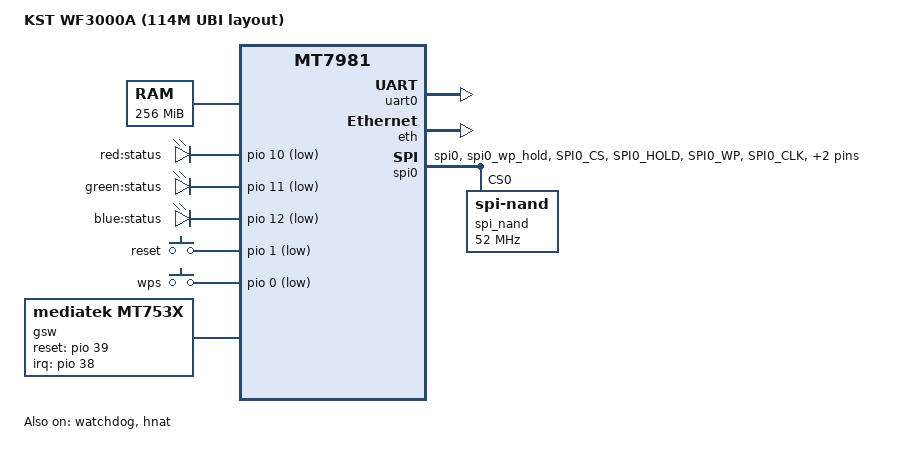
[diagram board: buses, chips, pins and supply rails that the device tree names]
// SPDX-License-Identifier: GPL-2.0-or-later OR MIT
/*
 * KST WF3000A —— hanwckf / ImmortalWrt 21.02 / Linux 5.4 板级描述
 *
 * 【硬件事实来源】wangwang623/immortalwrt-mt798x-6.6 的
 *   target/linux/mediatek/dts/mt7981b-kst-wf3000a.dts（实机验证有线/无线可用）
 * 【语法格式来源】本分支 5.4 的 mt7981-newland-nl-wr8103.dts
 *   （chosen/leds/gpio-keys/gsw/nmbm/spi0/pio 的写法）
 * 【网口模式来源】本分支 5.4 的 mt7981-cetron-ct3003.dts + 02_network
 *   （单 GMAC + VLAN：0/1/2=lan、3=wan、6t@eth0，与 6.6 DTS 端口角色逐项一致）
 * 【物理口顺序】机身从左到右 LAN1 LAN2 LAN3 WAN = port0 port1 port2 port3
 *
 * ★ 物理端口（实机确认）：1WAN + 3LAN 共 4 个 RJ45，机身从左到右依次
 *   LAN1、LAN2、LAN3、WAN。与 6.6 已验证 DTS 的 label 逐口对应：
 *     port@0 = lan1 (最左)   port@1 = lan2
 *     port@2 = lan3          port@3 = wan (最右)
 *     port@6 = CPU port，ethernet = <&gmac0>
 *   port 编号与丝印顺序一一对应，不反序；02_network 的
 *   "0:lan 1:lan 2:lan 3:wan" 就是按这个顺序写的，不要对调。
 *
 * ★ 为什么必须这样写（2026-11 实机教训）★
 * 1) NL-WR8103 是 1WAN+1LAN 便携路由，gmac1 = "gmii" + phy-handle=<&phy0>
 *    （外接 RTL8221B PHY），WAN 走 eth1。WF3000A 是 1WAN+3LAN、板上没有
 *    这颗 PHY，直接刷 8103 固件 → WAN/LAN 全不通。所以本文件【不照抄
 *    8103 的 eth/mdio 段】，只借它的骨架格式（gsw/nmbm/分区/LED/按键）。
 * 2) 6.6 已验证 DTS 其实是【双 GMAC】：gmac0 / gmac1 均为 2500base-x
 *    fixed-link（无 phy-handle），&hnat 写 mtketh-wan="eth1"、
 *    mtketh-max-gmac=<2>。硬件上第二条 GMAC 通道是存在的，只是 6.6 走
 *    主线 DSA 驱动能自动跑通；switch 节点里只显式写 port@6→gmac0。
 * 3) 上一版 5.4 DTS 按 360,t7 / 8103 的双 GMAC 写法照搬
 *    （gmac1 + port5 + 02_network 的 "5u@eth1"），实机 WAN
 *    「发 423 包 / 收 0 包」——说明第二通道在 5.4 的 SDK mt753x 驱动下
 *    没起来，不是端口角色写错，也不是物理口顺序反了。
 *    ★ 更正：上一版注释里「硬件只有 port6→gmac0 一条 CPU 通道」是错的。★
 * 4) 本移植【主动只用一条 CPU 通道】绕开上述问题：按 5.4 源码自带的
 *    cetron,ct3003（同为 MT7981 + MT7531、1WAN+3LAN、无外置 PHY）成熟组合：
 *    &eth 只声明 gmac0、hnat max-gmac=1、wan=eth0.2 / lan=eth0.1、
 *    02_network 用 "0:lan 1:lan 2:lan 3:wan 6t@eth0"，用 VLAN 1/2 区分
 *    LAN/WAN。port5 节点是 5.4 mt753x 驱动在 VLAN 模式下的标准声明；
 *    ★不写 mediatek,portmap★：驱动 "wllll" 默认把 port0 当 WAN，
 *    会与本机 port3=WAN 冲突，VLAN 全部交给 02_network 配置。
 *
 * 分区表与 U-Boot expand(114m) 一致：
 *   nmbm0:1024k(bl2),512k(u-boot-env),2048k(factory),2048k(fip),116736k(ubi)
 * 标签用大写 "BL2"/"Factory"/"FIP"：5.4 的 02_network 用
 *   mtd_get_mac_binary Factory 0x4 读 MAC，闭源无线驱动也按 "Factory" 查找。
 * 不要改成 6.6 的小写 factory，也不要带 6.6 的 nvmem-layout / &wifi / &switch。
 *
 * MAC（实测）：Factory 0x4 = 48:DA:35:50:70:F7，LAN = -1，WAN = -2。
 * 由 02_network 处理，DTS 不绑定。
 *
 * 5.4 的 mtk-snand-ids.c 把 W25N01GV 定义为 SNAND_MEMORG_1G_2K_64
 * → OOB 64B，与 U-Boot NMBM 签名的 spare_size=64 天然相等，
 *   ★不存在 6.6 的 mismatch，不要加 mediatek,bmt-mtd-overridden-oobsize ★
 */

/dts-v1/;
#include <dt-bindings/gpio/gpio.h>
#include <dt-bindings/input/input.h>
#include "mt7981.dtsi"

/ {
	model = "KST WF3000A (114M UBI layout)";
	compatible = "kst,wf3000a", "mediatek,mt7981";

	aliases {
		serial0 = &uart0;
		led-boot = &status_red_led;
		led-failsafe = &status_red_led;
		led-running = &status_green_led;
		led-upgrade = &status_blue_led;
	};

	chosen {
		bootargs = "console=ttyS0,115200n1 loglevel=8 earlycon=uart8250,mmio32,0x11002000";
	};

	memory {
		reg = <0 0x40000000 0 0x10000000>;
	};

	leds {
		compatible = "gpio-leds";

		status_red_led: led-0 {
			label = "red:status";
			gpios = <&pio 10 GPIO_ACTIVE_LOW>;
		};

		status_green_led: led-1 {
			label = "green:status";
			gpios = <&pio 11 GPIO_ACTIVE_LOW>;
		};

		status_blue_led: led-2 {
			label = "blue:status";
			gpios = <&pio 12 GPIO_ACTIVE_LOW>;
		};
	};

	gpio-keys {
		compatible = "gpio-keys";

		reset {
			label = "reset";
			linux,code = <KEY_RESTART>;
			gpios = <&pio 1 GPIO_ACTIVE_LOW>;
		};

		wps {
			label = "wps";
			linux,code = <KEY_WPS_BUTTON>;
			gpios = <&pio 0 GPIO_ACTIVE_LOW>;
		};
	};

	gsw: gsw@0 {
		compatible = "mediatek,mt753x";
		mediatek,ethsys = <&ethsys>;
		#address-cells = <1>;
		#size-cells = <0>;
	};

	nmbm_spim_nand {
		compatible = "generic,nmbm";
		#address-cells = <1>;
		#size-cells = <1>;

		lower-mtd-device = <&spi_nand>;
		forced-create;

		partitions {
			compatible = "fixed-partitions";
			#address-cells = <1>;
			#size-cells = <1>;

			partition@0 {
				label = "BL2";
				reg = <0x00 0x100000>;
			};

			partition@100000 {
				label = "u-boot-env";
				reg = <0x100000 0x80000>;
			};

			partition@180000 {
				label = "Factory";
				reg = <0x180000 0x200000>;
			};

			partition@380000 {
				label = "FIP";
				reg = <0x380000 0x200000>;
			};

			partition@580000 {
				label = "ubi";
				reg = <0x580000 0x7200000>;
			};
		};
	};
};

&uart0 {
	status = "okay";
};

&watchdog {
	status = "okay";
};

&eth {
	status = "okay";

	/* 单 GMAC：只有 gmac0 通过 MT7531 port6 承载流量（与 6.6 已验证 DTS 一致） */
	gmac0: mac@0 {
		compatible = "mediatek,eth-mac";
		reg = <0>;
		phy-mode = "2500base-x";

		fixed-link {
			speed = <2500>;
			full-duplex;
			pause;
		};
	};

	/* WF3000A 无外置 PHY：mdio 留空，绝不出现 phy0 / gmii */
	mdio: mdio-bus {
		#address-cells = <1>;
		#size-cells = <0>;
	};
};

&gsw {
	mediatek,mdio = <&mdio>;
	mediatek,mdio_master_pinmux = <0>;
	reset-gpios = <&pio 39 0>;
	interrupt-parent = <&pio>;
	interrupts = <38 IRQ_TYPE_LEVEL_HIGH>;
	status = "okay";

	port5: port@5 {
		compatible = "mediatek,mt753x-port";
		reg = <5>;
		phy-mode = "sgmii";

		fixed-link {
			speed = <2500>;
			full-duplex;
		};
	};

	port6: port@6 {
		compatible = "mediatek,mt753x-port";
		mediatek,ssc-on;
		reg = <6>;
		phy-mode = "sgmii";

		fixed-link {
			speed = <2500>;
			full-duplex;
		};
	};
};

&hnat {
	/* 单 GMAC + VLAN：WAN=eth0.2、LAN=eth0.1，不再依赖 eth1 */
	mtketh-wan = "eth0.2";
	mtketh-ppd = "eth0.1";
	mtketh-lan = "eth0";
	mtketh-max-gmac = <1>;
	status = "okay";
};

&spi0 {
	pinctrl-names = "default";
	pinctrl-0 = <&spi0_flash_pins>;
	status = "okay";

	spi_nand: spi_nand@0 {
		#address-cells = <1>;
		#size-cells = <1>;
		compatible = "spi-nand";
		reg = <0>;
		spi-max-frequency = <52000000>;
		spi-tx-bus-width = <4>;
		spi-rx-bus-width = <4>;
		spi-cal-enable;
		spi-cal-mode = "read-data";
		spi-cal-datalen = <7>;
		spi-cal-data = /bits/ 8 <0x53 0x50 0x49 0x4E 0x41 0x4E 0x44>;
		spi-cal-addrlen = <5>;
		spi-cal-addr = /bits/ 32 <0x0 0x0 0x0 0x0 0x0>;
	};
};

&pio {
	spi0_flash_pins: spi0-pins {
		mux {
			function = "spi";
			groups = "spi0", "spi0_wp_hold";
		};

		conf-pu {
			pins = "SPI0_CS", "SPI0_HOLD", "SPI0_WP";
			drive-strength = <MTK_DRIVE_8mA>;
			bias-pull-up = <MTK_PUPD_SET_R1R0_11>;
		};

		conf-pd {
			pins = "SPI0_CLK", "SPI0_MOSI", "SPI0_MISO";
			drive-strength = <MTK_DRIVE_8mA>;
			bias-pull-down = <MTK_PUPD_SET_R1R0_11>;
		};
	};
};
